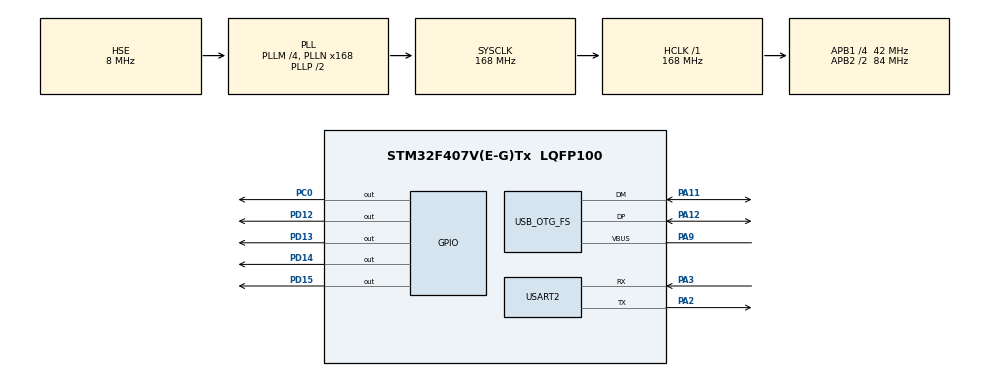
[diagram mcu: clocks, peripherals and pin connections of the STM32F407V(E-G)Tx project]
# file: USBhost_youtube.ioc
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Dma.Request0=USART2_RX
Dma.USART2_RX.0.Direction=DMA_PERIPH_TO_MEMORY
Dma.USART2_RX.0.FIFOMode=DMA_FIFOMODE_DISABLE
Dma.USART2_RX.0.Instance=DMA1_Stream5
Dma.USART2_RX.0.MemDataAlignment=DMA_MDATAALIGN_BYTE
Dma.USART2_RX.0.MemInc=DMA_MINC_ENABLE
Dma.USART2_RX.0.Mode=DMA_CIRCULAR
Dma.USART2_RX.0.PeriphDataAlignment=DMA_PDATAALIGN_BYTE
Dma.USART2_RX.0.PeriphInc=DMA_PINC_DISABLE
Dma.USART2_RX.0.Priority=DMA_PRIORITY_LOW
FATFS._MAX_SS=4096
FATFS._STRF_ENCODE=3
Mcu.Family=STM32F4
Mcu.Name=STM32F407V(E-G)Tx
Mcu.Package=LQFP100
NVIC.DMA1_Stream5_IRQn=true\:0\:0\:false\:false\:true\:false
NVIC.OTG_FS_IRQn=true\:0\:0\:false\:false\:true\:false
NVIC.PriorityGroup=NVIC_PRIORITYGROUP_4
NVIC.USART2_IRQn=true\:0\:0\:false\:false\:true\:true
PA11.Mode=Host_Only
PA11.Signal=USB_OTG_FS_DM
PA12.Mode=Host_Only
PA12.Signal=USB_OTG_FS_DP
PA2.Mode=Asynchronous
PA2.Signal=USART2_TX
PA3.Mode=Asynchronous
PA3.Signal=USART2_RX
PA9.Mode=Activate_VBUS
PA9.Signal=USB_OTG_FS_VBUS
PC0.Signal=GPIO_Output
PD12.Signal=GPIO_Output
PD13.Signal=GPIO_Output
PD14.Signal=GPIO_Output
PD15.Signal=GPIO_Output
PH0-OSC_IN.Mode=HSE-External-Clock-Source
PH0-OSC_IN.Signal=RCC_OSC_IN
PH1-OSC_OUT.Mode=HSE-External-Clock-Source
PH1-OSC_OUT.Signal=RCC_OSC_OUT
ProjectManager.HeapSize=0x200
ProjectManager.StackSize=0x400
ProjectManager.TargetToolchain=Makefile
RCC.48MHZClocksFreq_Value=48000000
RCC.AHBFreq_Value=168000000
RCC.APB1CLKDivider=RCC_HCLK_DIV4
RCC.APB1Freq_Value=42000000
RCC.APB1TimFreq_Value=84000000
RCC.APB2CLKDivider=RCC_HCLK_DIV2
RCC.APB2Freq_Value=84000000
RCC.APB2TimFreq_Value=168000000
RCC.CortexFreq_Value=168000000
RCC.HCLKFreq_Value=168000000
RCC.HSE_VALUE=8000000
RCC.HSI_VALUE=16000000
RCC.LSE_VALUE=32768
RCC.PLLM=4
RCC.PLLN=168
RCC.PLLQ=7
RCC.SYSCLKFreq_VALUE=168000000
RCC.SYSCLKSource=RCC_SYSCLKSOURCE_PLLCLK
RCC.VCOOutputFreq_Value=336000000
USART2.VirtualMode=VM_ASYNC
USB_HOST.USBH_HandleTypeDef-MSC_FS=hUsbHostFS
USB_HOST.VirtualModeFS=Msc
USB_OTG_FS.VirtualMode=Host_Only
USB_OTG_FS.phy_itface=HCD_PHY_EMBEDDED
VP_FATFS_VS_USB.Mode=USB
VP_USB_HOST_VS_USB_HOST_MSC_FS.Mode=MSC_FS
board=USBhost_youtube

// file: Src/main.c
/**
  ******************************************************************************
  * File Name          : main.c
  * Description        : Main program body
  ******************************************************************************
  * This notice applies to any and all portions of this file
  * that are not between comment pairs USER CODE BEGIN and
  * USER CODE END. Other portions of this file, whether
  * inserted by the user or by software development tools
  * are owned by their respective copyright owners.
  *
  * Copyright (c) 2018 STMicroelectronics International N.V.
  * All rights reserved.
  *
  * Redistribution and use in source and binary forms, with or without
  * modification, are permitted, provided that the following conditions are met:
  *
  * 1. Redistribution of source code must retain the above copyright notice,
  *    this list of conditions and the following disclaimer.
  * 2. Redistributions in binary form must reproduce the above copyright notice,
  *    this list of conditions and the following disclaimer in the documentation
  *    and/or other materials provided with the distribution.
  * 3. Neither the name of STMicroelectronics nor the names of other
  *    contributors to this software may be used to endorse or promote products
  *    derived from this software without specific written permission.
  * 4. This software, including modifications and/or derivative works of this
  *    software, must execute solely and exclusively on microcontroller or
  *    microprocessor devices manufactured by or for STMicroelectronics.
  * 5. Redistribution and use of this software other than as permitted under
  *    this license is void and will automatically terminate your rights under
  *    this license.
  *
  * THIS SOFTWARE IS PROVIDED BY STMICROELECTRONICS AND CONTRIBUTORS "AS IS"
  * AND ANY EXPRESS, IMPLIED OR STATUTORY WARRANTIES, INCLUDING, BUT NOT
  * LIMITED TO, THE IMPLIED WARRANTIES OF MERCHANTABILITY, FITNESS FOR A
  * PARTICULAR PURPOSE AND NON-INFRINGEMENT OF THIRD PARTY INTELLECTUAL PROPERTY
  * RIGHTS ARE DISCLAIMED TO THE FULLEST EXTENT PERMITTED BY LAW. IN NO EVENT
  * SHALL STMICROELECTRONICS OR CONTRIBUTORS BE LIABLE FOR ANY DIRECT, INDIRECT,
  * INCIDENTAL, SPECIAL, EXEMPLARY, OR CONSEQUENTIAL DAMAGES (INCLUDING, BUT NOT
  * LIMITED TO, PROCUREMENT OF SUBSTITUTE GOODS OR SERVICES; LOSS OF USE, DATA,
  * OR PROFITS; OR BUSINESS INTERRUPTION) HOWEVER CAUSED AND ON ANY THEORY OF
  * LIABILITY, WHETHER IN CONTRACT, STRICT LIABILITY, OR TORT (INCLUDING
  * NEGLIGENCE OR OTHERWISE) ARISING IN ANY WAY OUT OF THE USE OF THIS SOFTWARE,
  * EVEN IF ADVISED OF THE POSSIBILITY OF SUCH DAMAGE.
  *
  ******************************************************************************
  */

#include "main.h"
#include "stm32f4xx_hal.h"
#include "fatfs.h"
#include "usb_host.h"

/* USER CODE BEGIN Includes */
#include "SendMessage.h"

#define IDLE 0
#define DOWN 1
#define UP 2
#define OK 3
#define BACK 4
#define MAX_STRING_LENGTH 10
#define MAX_PATH_LENGTH 100
/* USER CODE END Includes */

UART_HandleTypeDef huart2;
DMA_HandleTypeDef hdma_usart2_rx;

/* USER CODE BEGIN PV */
/* Private variables ---------------------------------------------------------*/
extern ApplicationTypeDef Appli_state;
FATFS USBDISKFatFs;
FIL MyFile;
extern USBH_HandleTypeDef hUsbHostFS;
volatile int fl=1;

volatile int ReadContentFlag=1;

volatile int status = IDLE;

uint8_t rxBuffer = '\0';
uint8_t rxString[MAX_STRING_LENGTH];
int rxindex = 0;
int commentflag=1;
struct node * pNode;
char path[100];
/* USER CODE END PV */

void SystemClock_Config(void);
static void MX_GPIO_Init(void);
static void MX_DMA_Init(void);
static void MX_USART2_UART_Init(void);
void MX_USB_HOST_Process(void);

/* USER CODE BEGIN PFP */
/* Private function prototypes -----------------------------------------------*/

/* USER CODE END PFP */

/* USER CODE BEGIN 0 */
struct node
{
  char name[16]; // the name
  FILINFO fno; // file info. FILINFO : see more in /Middlewares/.../ff.h
  struct node * nextNode; // pointer to the next node
  struct node * previousNode; // pointer to the previous node
};

void PinD12On(void)
{
  HAL_GPIO_WritePin(GPIOD, GPIO_PIN_12, GPIO_PIN_SET);
}
void PinD12Off(void)
{
  HAL_GPIO_WritePin(GPIOD, GPIO_PIN_12, GPIO_PIN_RESET);
}
void PinD13On(void)
{
  HAL_GPIO_WritePin(GPIOD, GPIO_PIN_13, GPIO_PIN_SET);
}
void PinD13Off(void)
{
  HAL_GPIO_WritePin(GPIOD, GPIO_PIN_13, GPIO_PIN_RESET);
}
void PinD14On(void)
{
  HAL_GPIO_WritePin(GPIOD, GPIO_PIN_14, GPIO_PIN_SET);
}
void PinD14Off(void)
{
  HAL_GPIO_WritePin(GPIOD, GPIO_PIN_14, GPIO_PIN_RESET);
}
void PinD15On(void)
{
  HAL_GPIO_WritePin(GPIOD, GPIO_PIN_15, GPIO_PIN_SET);
}
void PinD15Off(void)
{
  HAL_GPIO_WritePin(GPIOD, GPIO_PIN_15, GPIO_PIN_RESET);
}
void ErrorCase(void)
{
  //ClearNodes();
  MX_USB_HOST_Init();
  MX_FATFS_Init();
  Appli_state = APPLICATION_IDLE;
  sendStaicMessage((char *)"Flash-drive is disconnected\n");
}
void FileReadWrite(void)
{
  FRESULT res;
  char rtext[100];
  UINT bytesread;
  if (f_mount(&USBDISKFatFs, (TCHAR const*)USBHPath, 0)!=FR_OK)
  {
    sendStaicMessage((char *)"USB-drive mount error\n");
    //Error_Handler();
    ErrorCase();
  }else{
    if(f_open(&MyFile,"copy.txt",FA_READ)!=FR_OK)//this was changed
    {
      sendStaicMessage((char *)"File open error\n");
      //Error_Handler();
      ErrorCase();
    }else{
      //sendStaicMessage("File open is OK.\n");
      res = f_read(&MyFile, rtext, sizeof(rtext), &bytesread);
      if((bytesread==0)||(res!=FR_OK))
      {
        sendStaicMessage((char *)"File read error\n");
        ErrorCase();
      }else{
        if(fl)
        {
          //sendStaicMessage((uint8_t*)USBHPath);
          fl=0;
          rtext[bytesread]=0;
          sendStaicMessage(rtext);
          f_close(&MyFile);
        }
      }
    }
  }
}
void ReadFileByString(void)
{
//sendStaicMessage("Function is called\n");
  char rtext[100];
/*
  res = f_read(&MyFile, rtext, sizeof(rtext),(void*)&bytesread);
  if((bytesread==0)||(res!=FR_OK))
  {
    sendStaicMessage("File read error\n");
    ErrorCase();
  }else{
    //sendStaicMessage((uint8_t*)USBHPath);
    rtext[bytesread]=0;
    sendStaicMessage(rtext);
  }
*/
  while (f_eof(&MyFile) == 0)
  {
    f_gets(rtext, sizeof(rtext), &MyFile);
    sendStaicMessage(rtext);
  }
}

void RootContentShort(void)
{
  FRESULT res;
  DIR dir;
//  UINT i;
  static FILINFO fno;
  char fileName[100];
  if (f_mount(&USBDISKFatFs, (TCHAR const*)USBHPath, 0)!=FR_OK)
  {
    sendStaicMessage((char *)"USB-drive mount error\n");
    //Error_Handler();
    //fl=1;
    ErrorCase();
  }else{
    if(f_open(&MyFile,"1.txt",FA_READ)!=FR_OK)
    {
      sendStaicMessage((char *)"File open error\n");
      ErrorCase();
    }else{
      sendStaicMessage((char *)"File open OK\n");
      ReadFileByString(); //MyFile is global!
      sendStaicMessage((char *)"THE END 2\n");
      f_close(&MyFile);
    }
  }
}

void RootContent(void)
{
  FRESULT res;
  DIR dir;
//  UINT i;
  static FILINFO fno;
  char fileName[100];
  if (f_mount(&USBDISKFatFs, (TCHAR const*)USBHPath, 0)!=FR_OK)
  {
    sendStaicMessage((char *)"USB-drive mount error\n");
    //Error_Handler();
    fl=1;
    ErrorCase();
  }else{
    res = f_opendir(&dir, USBHPath);
    if(fl)
    {
      if (res!=FR_OK)
      {
        //sendStaicMessage("Directory open error\n");
        fl=1;
        ErrorCase();
      }else{
        sendStaicMessage((char *)"Flash-drive content:\n");
        fl=0;
        res = f_readdir(&dir, &fno);
        while((res==FR_OK)&&(fno.fname[0] != 0))
        {
          if (fno.fattrib & AM_DIR)
          {
            sprintf(fileName, "%s%s\n", fno.fname, "/");
          }else{
            sprintf(fileName, "%s\n", fno.fname);
          }
          sendStaicMessage(fileName);
          sendStaicMessage((char *)"**********\n");
          if (fno.fattrib & AM_DIR)
          {
            sendStaicMessage((char *)"This is foulder\n");
          }else{
            sendStaicMessage((char *)"File found\n");
            if(f_open(&MyFile,fileName,FA_READ)!=FR_OK)
            {
              sendStaicMessage((char *)"File open error\n");
              fl=1;
              ErrorCase();
            }else{
              sendStaicMessage((char *)"File open OK\n");
              ReadFileByString(); //MyFile is global!
              sendStaicMessage((char *)"THE END 2\n");
              f_close(&MyFile);
            }
          }
          res = f_readdir(&dir, &fno);
        }
      }
    }
    //sendStaicMessage("Root content finishes\n");
    f_closedir(&dir);
  }
}

void RootContentLinkedList(void)
{
  FRESULT res;
  DIR dir;
//  UINT i;
  static FILINFO fno;
  if (f_mount(&USBDISKFatFs, (TCHAR const*)USBHPath, 0)!=FR_OK)
  {
    sendStaicMessage((char *)"USB-drive mount error\n");
    //Error_Handler();
    ErrorCase();
  }else{
    res = f_opendir(&dir, USBHPath);
    if (res!=FR_OK)
    {
      //sendStaicMessage("Directory open error\n");
      ErrorCase();
    }else{
      //sendStaicMessage((char *)"Flash-drive content:\n");
      //Dynamic mamory
      struct node * pBuf;
      pBuf = malloc(sizeof(struct node));
      pBuf->previousNode = NULL;
      pNode = pBuf;
      //Linked list gen
      do
      {
        res = f_readdir(&dir, &fno);
        pBuf->fno=fno; // Write the data to this node
        if ((res!=FR_OK)||(fno.fname[0] == 0)) // Check if the list ended
        {
          if (pNode->fno.fname[0] == 0) {pNode = NULL;} // Erase Linked List if empty
          pBuf->previousNode->nextNode=NULL;
          free(pBuf);
          pBuf = NULL;
          break;
        }
        pBuf->nextNode = malloc(sizeof(struct node)); // create next node
        pBuf->nextNode->previousNode = pBuf; //make a backward link
        pBuf = pBuf->nextNode; // move pointer to the next node
        /*if (fno.fattrib & AM_DIR)
        {
          sprintf(fileName, "%s%s\n", fno.fname, "/");
          sendStaicMessage((char *)"This is foulder named ");
          sendStaicMessage(fileName);
        }else{
          sprintf(fileName, "%s\n", fno.fname);
          sendStaicMessage((char *)"This is file named ");
          sendStaicMessage(fileName);
        }*/
      }while(1);//while((res==FR_OK)&&(fno.fname[0] != 0));
      // make the backward links
    }
    //sendStaicMessage("Root content finishes\n");
    f_closedir(&dir);
  }
}
void GoToTheFirstNode(void)
{
  if (pNode!=NULL)
  {
    do
    {
      if(pNode->previousNode==NULL)
      {
        break;
      }else{
       pNode=pNode->previousNode;
      }
    }while(1);
  }
}
void GoToTheLastNode(void)
{
  if (pNode!=NULL)
  {
    do
    {
      if(pNode->nextNode==NULL)
      {
        break;
      }else{
       pNode=pNode->nextNode;
      }
    }while(1);
  }
}
void ClearNodes(void)
{
  if (pNode!=NULL)
  {
    GoToTheLastNode();
    do
    {
      if(pNode->previousNode==NULL)
      {
        break;
      }else{
       pNode=pNode->previousNode;
       free(pNode->nextNode);
      }
    }while(1);
    free(pNode);
    pNode=NULL;
  }
}
void ShowRootContentLinkedList(void)
{
  char fileName[100];
  if (pNode==NULL)
  {
    sendStaicMessage("Flash drive is empty\n");
  }else{
    do
    {
      if (pNode->fno.fattrib & AM_DIR)
      {
        sprintf(fileName, "%s%s\n", pNode->fno.fname, "/");
        sendStaicMessage((char *)"This is foulder named ");
        sendStaicMessage(fileName);
      }else{
        sprintf(fileName, "%s\n", pNode->fno.fname);
        sendStaicMessage((char *)"This is file named ");
        sendStaicMessage(fileName);
      }
      if(pNode->nextNode==NULL)
      {
        break;
      }else{
       pNode=pNode->nextNode;
      }
    }while(1);
  }
  GoToTheFirstNode();
}
void FoulderContentLinkedList(void)
{
  FRESULT res;
  DIR dir;
  char folderPath[100];
  static FILINFO fno;
  GoToTheLastNode();
  if (pNode->fno.fattrib & AM_DIR)
  {
    sprintf(folderPath, "%s%s%s\n", (char*)USBHPath, "/", pNode->fno.fname);
    res = f_opendir(&dir, (TCHAR*)folderPath);
    if (res!=FR_OK)
    {
      sendStaicMessage("Directory open error\n");
      ErrorCase();
    }else{
      sendStaicMessage((char *)"Flash-drive content:\n");
      //Dynamic mamory
      struct node * pBuf;
      pBuf = malloc(sizeof(struct node));
      pBuf->previousNode = NULL;
      ClearNodes();
      pNode = pBuf;
      //Linked list gen
      do
      {
        res = f_readdir(&dir, &fno);
        pBuf->fno=fno; // Write the data to this node
        if ((res!=FR_OK)||(fno.fname[0] == 0)) // Check if the list ended
        {
          if (pNode->fno.fname[0] == 0) {pNode = NULL;} // Erase Linked List if empty
          pBuf->previousNode->nextNode=NULL;
          free(pBuf);
          pBuf = NULL;
          break;
        }
        pBuf->nextNode = malloc(sizeof(struct node)); // create next node
        pBuf->nextNode->previousNode = pBuf; //make a backward link
        pBuf = pBuf->nextNode; // move pointer to the next node
      }while(1);
    }
    //sendStaicMessage("Root content finishes\n");
    f_closedir(&dir);
  }
}
int FindSlash(char * string)
{
  int i=0, j=0;
  for (j=0; j<=MAX_PATH_LENGTH; j++)
  {
    if(string[j]=='/') {i=j;}
  }
  return i;
}

void ReadFile(void)
{
//  UINT i;
  char filePath[100];
  sprintf(filePath, "%s%s%s", path, "/", pNode->fno.fname);
  if(f_open(&MyFile,filePath,FA_READ)!=FR_OK)
  {
    sendStaicMessage((char *)"File open error\n");
    ErrorCase();
  }else{
    ReadFileByString(); //MyFile is global!
    f_close(&MyFile);
  }
}
void OpenFolder(void)
{
  FRESULT res;
  DIR dir;
  static FILINFO fno;
  if (pNode->fno.fattrib & AM_DIR)
  {
    if (FindSlash(path)<3)
    {
      sprintf(path, "%s%s", path, pNode->fno.fname);
    }else{
      sprintf(path, "%s%s%s", path, "/", pNode->fno.fname);
    }
    res = f_opendir(&dir, (TCHAR*)path);
    if (res!=FR_OK)
    {
      sprintf(path, "%s", (char*)USBHPath);
      sendStaicMessage("Directory open error\n");
      ErrorCase();
    }else{
      sendStaicMessage(path);
      sendStaicMessage("\n");
      //Dynamic mamory
      struct node * pBuf;
      pBuf = malloc(sizeof(struct node));
      pBuf->previousNode = NULL;
      ClearNodes();
      pNode = pBuf;
      //Linked list gen
      do
      {
        res = f_readdir(&dir, &fno);
        pBuf->fno=fno; // Write the data to this node
        if ((res!=FR_OK)||(fno.fname[0] == 0)) // Check if the list ended
        {
          if (pNode->fno.fname[0] == 0) {pNode = NULL;} // Erase Linked List if empty
          pBuf->previousNode->nextNode=NULL;
          free(pBuf);
          pBuf = NULL;
          break;
        }
        pBuf->nextNode = malloc(sizeof(struct node)); // create next node
        pBuf->nextNode->previousNode = pBuf; //make a backward link
        pBuf = pBuf->nextNode; // move pointer to the next node
      }while(1);
    }
    //sendStaicMessage("Root content finishes\n");
    f_closedir(&dir);
  }
}
void ShowNode(void)
{
  if (pNode!=NULL)
  {
    sendStaicMessage(pNode->fno.fname);
    sendStaicMessage("\n");
  }
}
void OKfunction(void)
{
  if (pNode!=NULL)
  {
    if(pNode->fno.fattrib & AM_DIR)
    {
      OpenFolder();
      ShowNode();
    }else{
      ReadFile();
    }
  }
}
void BACKfunction(void)
{
  FRESULT res;
  DIR dir;
  FILINFO fno;
  int j, jStart = FindSlash(path);
  if (jStart<3)
  {
    for(j=jStart+1; j<MAX_PATH_LENGTH; j++)
    {
      path[j]='\0';
    }
  }else{
    for(j=jStart; j<MAX_PATH_LENGTH; j++)
    {
      path[j]='\0';
    }
  }
  sendStaicMessage(path);
  sendStaicMessage("\n");
  res = f_opendir(&dir, (TCHAR*)path);
  if (res!=FR_OK)
  {
    sprintf(path, "%s", (char*)USBHPath);
    sendStaicMessage("Directory open error\n");
    ErrorCase();
  }else{
    //Dynamic mamory
    struct node * pBuf;
    pBuf = malloc(sizeof(struct node));
    pBuf->previousNode = NULL;
    ClearNodes();
    pNode = pBuf;
    //Linked list gen
    do
    {
      res = f_readdir(&dir, &fno);
      pBuf->fno=fno; // Write the data to this node
      if ((res!=FR_OK)||(fno.fname[0] == 0)) // Check if the list ended
      {
        if (pNode->fno.fname[0] == 0) {pNode = NULL;} // Erase Linked List if empty
        pBuf->previousNode->nextNode=NULL;
        free(pBuf);
        pBuf = NULL;
        break;
      }
      pBuf->nextNode = malloc(sizeof(struct node)); // create next node
      pBuf->nextNode->previousNode = pBuf; //make a backward link
      pBuf = pBuf->nextNode; // move pointer to the next node
    }while(1);
  }
  //sendStaicMessage("Root content finishes\n");
  f_closedir(&dir);
  ShowNode();
}
void UPfunction(void)
{
  if (pNode->previousNode != NULL)
  {
    pNode = pNode->previousNode;
  }
  ShowNode();
}
void DOWNfunction(void)
{
  if (pNode->nextNode != NULL)
  {
    pNode = pNode->nextNode;
  }
  ShowNode();
}

/* USER CODE END 0 */

int main(void)
{
  /* USER CODE BEGIN 1 */
  // Pointer usage example
  /*
  struct node * pBuf;
  pBuf = malloc(sizeof(struct node));
  FILINFO fnoTest;
  FILINFO * pfnoTest;
  fnoTest = pBuf->fno;
  pfnoTest = &(pBuf->fno);
  free(pBuf);
  */

  /* USER CODE END 1 */

  /* MCU Configuration----------------------------------------------------------*/

  /* Reset of all peripherals, Initializes the Flash interface and the Systick. */
  HAL_Init();

  /* Configure the system clock */
  SystemClock_Config();

  /* Initialize all configured peripherals */
  MX_GPIO_Init();
  MX_DMA_Init();
  MX_USB_HOST_Init();
  MX_FATFS_Init();
  MX_USART2_UART_Init();

  /* USER CODE BEGIN 2 */
  sendStaicMessage((char *)"Start\n");
  HAL_UART_Receive_DMA(&huart2, (uint8_t *)&rxBuffer, 1);
  //Path initialization
  sprintf(path, "%s", (char*)USBHPath);
  /* USER CODE END 2 */

  /* Infinite loop */
  while (1)
  {
    MX_USB_HOST_Process();

  /* USER CODE BEGIN 3 */
    if (Appli_state == APPLICATION_START)
    {
      PinD12On();
      PinD13Off();
      PinD14Off();
      PinD15Off();
      //FileReadWrite();
      if (ReadContentFlag==1)
      {
        RootContentLinkedList();
        ShowNode();
        //ShowRootContentLinkedList();
        //FoulderContentLinkedList();
        //ShowRootContentLinkedList();
        //RootContentShort();
        ReadContentFlag=0;
      }
      if(ReadContentFlag==0)
      {
        switch (status)
        {
        case OK:
          OKfunction();
          status = IDLE;
          break;
        case BACK:
          BACKfunction();
          status = IDLE;
          break;
        case DOWN:
          DOWNfunction();
          status = IDLE;
          break;
        case UP:
          UPfunction();
          status = IDLE;
          break;
        }
      }
    }else if (Appli_state == APPLICATION_IDLE){
      PinD12Off();
      PinD13On();
      PinD14Off();
      PinD15Off();
    }else if (Appli_state == APPLICATION_READY){
      PinD12Off();
      PinD13Off();
      PinD14On();
      PinD15Off();
    }else if (Appli_state == APPLICATION_DISCONNECT){
      ClearNodes();
      MX_USB_HOST_Init();
      MX_FATFS_Init();
      PinD12Off();
      PinD13Off();
      PinD14Off();
      ReadContentFlag=1;
      sendStaicMessage((char *)"Flash-drive is disconnected\n");
      Appli_state = APPLICATION_IDLE;
    }
  }
  /* USER CODE END 3 */

}

/** System Clock Configuration
*/
void SystemClock_Config(void)
{

  RCC_OscInitTypeDef RCC_OscInitStruct;
  RCC_ClkInitTypeDef RCC_ClkInitStruct;

    /**Configure the main internal regulator output voltage
    */
  __HAL_RCC_PWR_CLK_ENABLE();

  __HAL_PWR_VOLTAGESCALING_CONFIG(PWR_REGULATOR_VOLTAGE_SCALE1);

    /**Initializes the CPU, AHB and APB busses clocks
    */
  RCC_OscInitStruct.OscillatorType = RCC_OSCILLATORTYPE_HSE;
  RCC_OscInitStruct.HSEState = RCC_HSE_BYPASS;
  RCC_OscInitStruct.PLL.PLLState = RCC_PLL_ON;
  RCC_OscInitStruct.PLL.PLLSource = RCC_PLLSOURCE_HSE;
  RCC_OscInitStruct.PLL.PLLM = 4;
  RCC_OscInitStruct.PLL.PLLN = 168;
  RCC_OscInitStruct.PLL.PLLP = RCC_PLLP_DIV2;
  RCC_OscInitStruct.PLL.PLLQ = 7;
  if (HAL_RCC_OscConfig(&RCC_OscInitStruct) != HAL_OK)
  {
    _Error_Handler(__FILE__, __LINE__);
  }

    /**Initializes the CPU, AHB and APB busses clocks
    */
  RCC_ClkInitStruct.ClockType = RCC_CLOCKTYPE_HCLK|RCC_CLOCKTYPE_SYSCLK
                              |RCC_CLOCKTYPE_PCLK1|RCC_CLOCKTYPE_PCLK2;
  RCC_ClkInitStruct.SYSCLKSource = RCC_SYSCLKSOURCE_PLLCLK;
  RCC_ClkInitStruct.AHBCLKDivider = RCC_SYSCLK_DIV1;
  RCC_ClkInitStruct.APB1CLKDivider = RCC_HCLK_DIV4;
  RCC_ClkInitStruct.APB2CLKDivider = RCC_HCLK_DIV2;

  if (HAL_RCC_ClockConfig(&RCC_ClkInitStruct, FLASH_LATENCY_5) != HAL_OK)
  {
    _Error_Handler(__FILE__, __LINE__);
  }

    /**Configure the Systick interrupt time
    */
  HAL_SYSTICK_Config(HAL_RCC_GetHCLKFreq()/1000);

    /**Configure the Systick
    */
  HAL_SYSTICK_CLKSourceConfig(SYSTICK_CLKSOURCE_HCLK);

  /* SysTick_IRQn interrupt configuration */
  HAL_NVIC_SetPriority(SysTick_IRQn, 0, 0);
}

/* USART2 init function */
static void MX_USART2_UART_Init(void)
{

  huart2.Instance = USART2;
  huart2.Init.BaudRate = 115200;
  huart2.Init.WordLength = UART_WORDLENGTH_8B;
  huart2.Init.StopBits = UART_STOPBITS_1;
  huart2.Init.Parity = UART_PARITY_NONE;
  huart2.Init.Mode = UART_MODE_TX_RX;
  huart2.Init.HwFlowCtl = UART_HWCONTROL_NONE;
  huart2.Init.OverSampling = UART_OVERSAMPLING_16;
  if (HAL_UART_Init(&huart2) != HAL_OK)
  {
    _Error_Handler(__FILE__, __LINE__);
  }

}

static void MX_DMA_Init(void)
{
  /* DMA controller clock enable */
  __HAL_RCC_DMA1_CLK_ENABLE();

  /* DMA interrupt init */
  /* DMA1_Stream5_IRQn interrupt configuration */
  HAL_NVIC_SetPriority(DMA1_Stream5_IRQn, 0, 0);
  HAL_NVIC_EnableIRQ(DMA1_Stream5_IRQn);

}

/** Configure pins as
        * Analog
        * Input
        * Output
        * EVENT_OUT
        * EXTI
*/
static void MX_GPIO_Init(void)
{

  GPIO_InitTypeDef GPIO_InitStruct;

  /* GPIO Ports Clock Enable */
  __HAL_RCC_GPIOH_CLK_ENABLE();
  __HAL_RCC_GPIOC_CLK_ENABLE();
  __HAL_RCC_GPIOA_CLK_ENABLE();
  __HAL_RCC_GPIOD_CLK_ENABLE();

  /*Configure GPIO pin Output Level */
  HAL_GPIO_WritePin(GPIOC, GPIO_PIN_0, GPIO_PIN_RESET);

  /*Configure GPIO pin Output Level */
  HAL_GPIO_WritePin(GPIOD, GPIO_PIN_12|GPIO_PIN_13|GPIO_PIN_14|GPIO_PIN_15, GPIO_PIN_RESET);

  /*Configure GPIO pin : PC0 */
  GPIO_InitStruct.Pin = GPIO_PIN_0;
  GPIO_InitStruct.Mode = GPIO_MODE_OUTPUT_PP;
  GPIO_InitStruct.Pull = GPIO_NOPULL;
  GPIO_InitStruct.Speed = GPIO_SPEED_FREQ_LOW;
  HAL_GPIO_Init(GPIOC, &GPIO_InitStruct);

  /*Configure GPIO pins : PD12 PD13 PD14 PD15 */
  GPIO_InitStruct.Pin = GPIO_PIN_12|GPIO_PIN_13|GPIO_PIN_14|GPIO_PIN_15;
  GPIO_InitStruct.Mode = GPIO_MODE_OUTPUT_PP;
  GPIO_InitStruct.Pull = GPIO_NOPULL;
  GPIO_InitStruct.Speed = GPIO_SPEED_FREQ_LOW;
  HAL_GPIO_Init(GPIOD, &GPIO_InitStruct);

}

/* USER CODE BEGIN 4 */
void HAL_UART_RxCpltCallback(UART_HandleTypeDef *huart)
{
  HAL_GPIO_WritePin(GPIOD, GPIO_PIN_14, GPIO_PIN_SET);
  int i=0;

  if (rxBuffer==';')
  {
    commentflag=0;
    rxString[rxindex]='\n';
  }
  if ((commentflag!=0))
  {
    rxString[rxindex]=rxBuffer;
    rxindex++;
  }
  if ((rxBuffer=='\n'))
  {
    //HAL_UART_Transmit(&huart2, (uint8_t *)rxString, rxindex+1, HAL_MAX_DELAY);
    status = IDLE;
    if ((rxString[0]=='O') && (rxString[1]=='K'))
    {
      status = OK;
      //sendStaicMessage((char *)"OK recieved\n");
      //OKfunction();
      //RootContentShort();
    }
    if ((rxString[0]=='D') && (rxString[1]=='O') && (rxString[2]=='W') && (rxString[3]=='N'))
    {
      status = DOWN;
      //sendStaicMessage((char *)"DOWN recieved\n");
      //DOWNfunction();
    }
    if ((rxString[0]=='U') && (rxString[1]=='P'))
    {
      status = UP;
      //sendStaicMessage((char *)"UP recieved\n");
      //UPfunction();
    }
    if ((rxString[0]=='B') && (rxString[1]=='A') && (rxString[2]=='C') && (rxString[3]=='K'))
    {
      status = BACK;
      //sendStaicMessage((char *)"BACK recieved\n");
      //BACKfunction();
    }

    commentflag=1;
    rxindex=0;
    for (i=0; i<MAX_STRING_LENGTH; i++)
    {
      rxString[i]=0;
    }
  }

}
/* USER CODE END 4 */

void _Error_Handler(char * file, int line)
{
  while(1)
  {
  }
}

/************************ (C) COPYRIGHT STMicroelectronics *****END OF FILE****/
